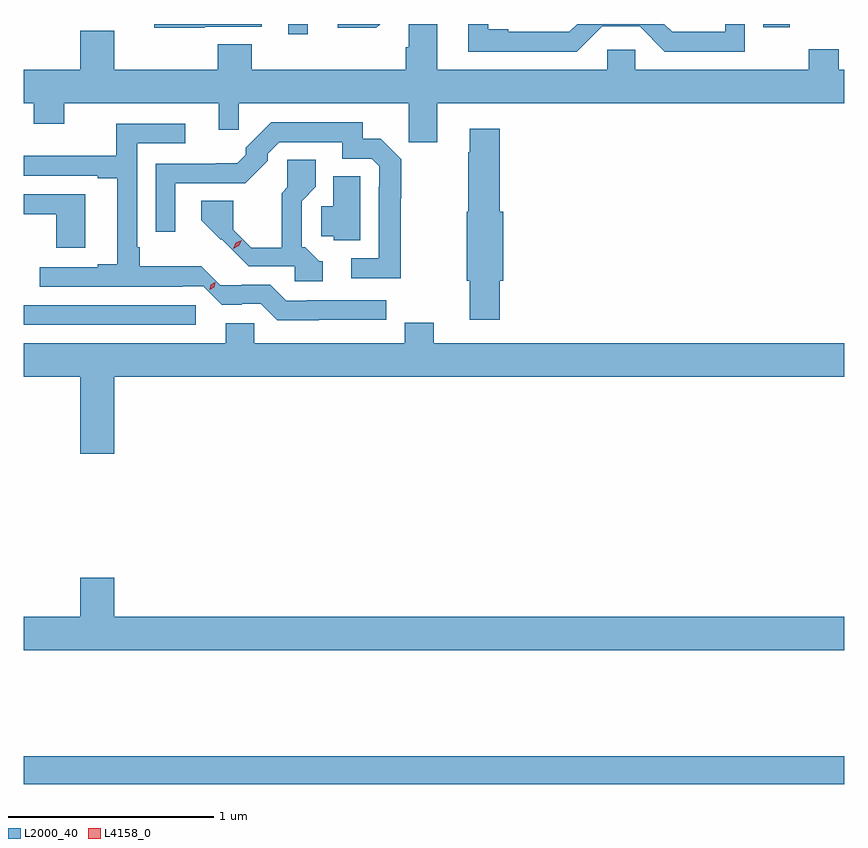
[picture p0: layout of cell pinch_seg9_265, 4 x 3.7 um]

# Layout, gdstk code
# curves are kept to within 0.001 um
import gdstk
lib = gdstk.Library(unit=1e-6, precision=1e-09)
def R(c, l, rs):  # rectangles x0, y0, x1, y1
    for r in rs: c.add(gdstk.rectangle(r[:2], r[2:], *l))
def P(c, l, *ps):  # polygons
    for p in ps: c.add(gdstk.Polygon(p, *l))
L2000_40 = (2000, 40)
L4158_0 = (4158, 0)

pinch_seg9_265 = lib.new_cell('pinch_seg9_265')
R(pinch_seg9_265, L2000_40, [(512.383,1205.092,516.383,1205.228), (512.383,1207.329,513.222,1207.425), (513.672,1208.745,513.768,1208.795), (515.988,1208.778,516.116,1208.795)])
P(pinch_seg9_265, L2000_40, [(514.12,1208.795),(513.915,1208.795),(513.915,1208.777),(514.102,1208.777)],
  [(513.265,1208.781),(513.543,1208.781),(513.543,1208.795),(513.02,1208.795),(513.02,1208.777),(513.265,1208.777)],
  [(515.202,1208.784),(515.385,1208.784),(515.508,1208.661),(515.898,1208.661),(515.898,1208.795),(515.802,1208.795),(515.802,1208.757),(515.544,1208.757),(515.506,1208.795),(515.08,1208.795),(515.042,1208.757),(514.744,1208.757),(514.744,1208.77),(514.648,1208.77),(514.648,1208.795),(514.551,1208.795),(514.551,1208.661),(515.079,1208.661)],
  [(514.399,1208.408),(516.383,1208.408),(516.383,1208.572),(516.355,1208.572),(516.355,1208.671),(516.208,1208.671),(516.208,1208.572),(515.364,1208.572),(515.364,1208.67),(515.226,1208.67),(515.226,1208.572),(514.399,1208.572),(514.399,1208.795),(514.26,1208.795),(514.26,1208.681),(514.246,1208.681),(514.246,1208.572),(513.494,1208.572),(513.494,1208.696),(513.329,1208.696),(513.329,1208.572),(512.824,1208.572),(512.824,1208.761),(512.66,1208.761),(512.66,1208.572),(512.383,1208.572),(512.383,1208.408),(512.434,1208.408),(512.434,1208.309),(512.581,1208.309),(512.581,1208.408),(513.335,1208.408),(513.335,1208.279),(513.431,1208.279),(513.431,1208.408),(514.261,1208.408),(514.261,1208.22),(514.399,1208.22)],
  [(514.222,1207.945),(514.224,1207.945),(514.224,1208.136),(514.124,1208.236),(514.035,1208.236),(514.035,1208.316),(513.59,1208.316),(513.465,1208.191),(513.465,1208.157),(513.424,1208.116),(513.027,1208.115),(513.027,1207.782),(513.123,1207.782),(513.123,1208.019),(513.463,1208.019),(513.573,1208.129),(513.573,1208.163),(513.63,1208.22),(513.936,1208.22),(513.936,1208.139),(514.08,1208.139),(514.116,1208.103),(514.116,1208.003),(514.113,1208.003),(514.113,1207.653),(513.981,1207.653),(513.981,1207.557),(514.222,1207.557)],
  [(513.821,1207.353),(514.15,1207.353),(514.15,1207.449),(513.763,1207.449),(513.763,1207.446),(513.663,1207.446),(513.585,1207.524),(513.446,1207.524),(513.446,1207.521),(513.342,1207.521),(513.249,1207.615),(512.95,1207.615),(512.95,1207.708),(512.937,1207.708),(512.937,1208.214),(513.172,1208.214),(513.172,1208.31),(512.836,1208.31),(512.836,1208.152),(512.383,1208.152),(512.383,1208.055),(512.744,1208.055),(512.744,1208.043),(512.84,1208.043),(512.84,1207.624),(512.744,1207.624),(512.744,1207.611),(512.463,1207.611),(512.463,1207.515),(513.158,1207.515),(513.158,1207.518),(513.258,1207.518),(513.348,1207.428),(513.446,1207.428),(513.446,1207.431),(513.54,1207.431),(513.619,1207.352)],
  [(514.703,1207.545),(514.721,1207.545),(514.721,1207.881),(514.703,1207.881),(514.703,1208.284),(514.556,1208.284),(514.556,1208.171),(514.549,1208.171),(514.549,1207.881),(514.543,1207.881),(514.543,1207.545),(514.556,1207.545),(514.556,1207.353),(514.703,1207.353)],
  [(513.841,1207.638),(513.825,1207.638),(513.756,1207.707),(513.738,1207.707),(513.738,1207.932),(513.808,1208.002),(513.808,1208.134),(513.669,1208.134),(513.669,1207.999),(513.64,1207.97),(513.64,1207.706),(513.492,1207.706),(513.405,1207.793),(513.405,1207.934),(513.25,1207.934),(513.25,1207.838),(513.345,1207.743),(513.348,1207.746),(513.48,1207.614),(513.705,1207.614),(513.705,1207.542),(513.841,1207.542)],
  [(514.023,1208.054),(513.893,1208.054),(513.893,1207.907),(513.834,1207.907),(513.834,1207.761),(513.894,1207.761),(513.894,1207.742),(514.023,1207.742)],
  [(512.683,1207.965),(512.383,1207.965),(512.383,1207.869),(512.543,1207.869),(512.543,1207.704),(512.683,1207.704)],
  [(512.824,1207.076),(516.383,1207.076),(516.383,1207.24),(514.381,1207.24),(514.381,1207.339),(514.241,1207.339),(514.241,1207.24),(513.507,1207.24),(513.507,1207.338),(513.368,1207.338),(513.368,1207.24),(512.383,1207.24),(512.383,1207.076),(512.66,1207.076),(512.66,1206.702),(512.824,1206.702)],
  [(516.383,1205.908),(512.824,1205.908),(512.824,1206.097),(512.66,1206.097),(512.66,1205.908),(512.383,1205.908),(512.383,1205.744),(516.383,1205.744)])
P(pinch_seg9_265, L4158_0, [(513.291,1207.499),(513.291,1207.5),(513.295,1207.524),(513.316,1207.537),(513.317,1207.537),(513.317,1207.537),(513.312,1207.512),(513.291,1207.5)],
  [(513.404,1207.701),(513.404,1207.701),(513.418,1207.729),(513.446,1207.742),(513.446,1207.742),(513.446,1207.742),(513.432,1207.714),(513.404,1207.701)])

lib.write_gds('pinch_seg9_265.gds')
